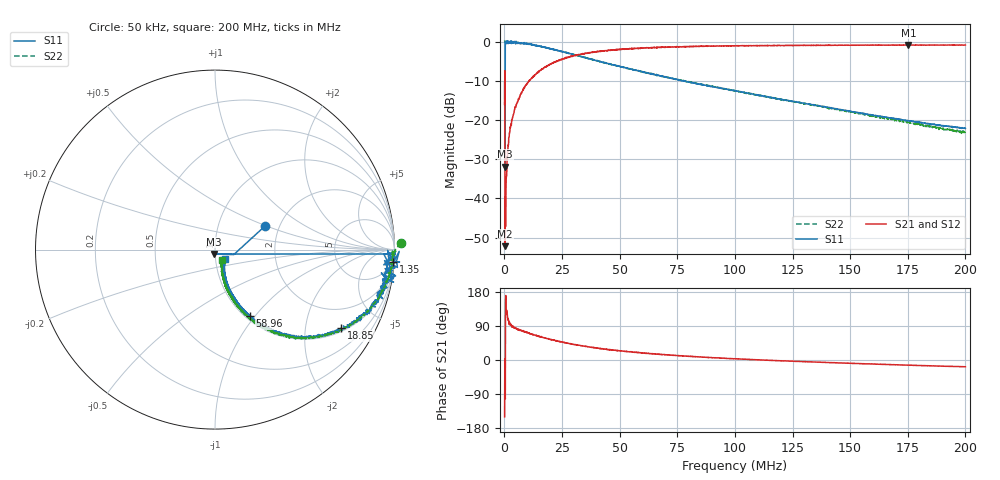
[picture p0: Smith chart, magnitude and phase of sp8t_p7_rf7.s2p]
! 26-Feb-26 1:05:22 PM
! E:\VNA_MEASUREMENTS\SP8T\SP8T_P7_RF7.S2P
! CHANNEL.1
! TR.MEASUREMENT
! CORRECTED.DATA
# GHZ S RI R 50.0
! FREQ.GHZ  S11RE  S11IM  S21RE  S21IM  S12RE  S12IM  S22RE  S22IM
!; PortSelection: Port_12
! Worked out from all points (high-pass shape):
!   2000 points, 50 kHz to 200 MHz, reference 50 ohm
!   highest |S21| = -0.80 dB at 175.3 MHz (marker M1); lowest = -52.2 dB at 250 kHz (marker M2)
!   |S21| within 3 dB of the highest: 28.48 MHz to 28.95 MHz (469 kHz wide, 1.63 % of centre); 28.98 MHz to end of sweep
!   lowest |S11| = -31.9 dB at 250 kHz (marker M3), VSWR 1.05, Z = 49.4 - j2.47 ohm
!   |S11| at or under -10 dB: start of sweep to 318.6 kHz; 77.59217 MHz to 77.76455 MHz (172.4 kHz wide, 0.222 % of centre); 78.06 MHz to end of sweep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
!   |S22| runs from -23.4 to 0.3 dB; largest |S21 - S12| = 0.43
!   S11 on the Smith chart (normalised r, x): 50 kHz: 1.68, +0.49; 1.35 MHz: 1, -28; 18.85 MHz: 1.12, -3.14; 58.96 MHz: 1.05, -0.94; 200 MHz: 1.11, -0.12
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5e-05  0.2789 0.1315  -0.1372 -0.0793  -0.00165 0.00704  1.037 0.0373
0.00025005  -0.00545 -0.025  -5.64e-05 -0.00246  -0.00141 0.0034  1.008 -0.00861
0.0008502  0.9785 -0.1018  -0.01 0.0162  -0.00214 0.0229  0.9935 -0.0208
0.0012503  0.9619 -0.00453  -0.0138 0.0274  -0.00414 0.0344  0.9945 -0.0527
0.001350325  0.9942 -0.0706  -0.0158 0.038  -0.00436 0.0384  0.9888 -0.0493
0.0016504  0.9974 -0.0426  -0.0115 0.0459  -0.00181 0.047  0.9822 -0.0556
0.0020505  0.9566 -0.0669  -0.00405 0.0628  -0.00128 0.0594  0.9841 -0.0776
0.0028507  1.018 -0.0992  -0.00433 0.0894  0.00119 0.0868  0.9819 -0.0999
0.004151026  0.9938 -0.1622  0.0112 0.1248  0.0122 0.1273  0.9703 -0.1438
0.006051501  0.9597 -0.212  0.0369 0.1838  0.0313 0.1823  0.9508 -0.1962
0.0108527  0.8762 -0.3118  0.1096 0.2978  0.1081 0.3024  0.8707 -0.3205
0.0188547  0.7048 -0.4371  0.274 0.41  0.28 0.4174  0.6966 -0.4506
0.02615653  0.5493 -0.4803  0.4221 0.436  0.4297 0.444  0.5405 -0.4895
0.03345835  0.4298 -0.4774  0.5539 0.4233  0.5496 0.4206  0.4207 -0.4896
0.04576143  0.291 -0.4347  0.6886 0.3632  0.686 0.3573  0.2786 -0.4433
0.05896473  0.1948 -0.3683  0.7698 0.2707  0.779 0.2703  0.1875 -0.3805
0.06676668  0.1606 -0.3399  0.822 0.2297  0.8179 0.2249  0.1453 -0.3388
0.100075  0.0805 -0.2228  0.8867 0.0461  0.8853 0.0461  0.0685 -0.2285
0.1333833  0.0565 -0.1469  0.8968 -0.0789  0.8954 -0.0791  0.043 -0.1508
0.1666917  0.0516 -0.0941  0.8852 -0.1904  0.8863 -0.1872  0.0378 -0.0983
0.1752938  0.0518 -0.0835  0.8862 -0.2139  0.8821 -0.2146  0.0403 -0.0876
0.2  0.057 -0.0542  0.8631 -0.277  0.8581 -0.2808  0.0412 -0.0582
